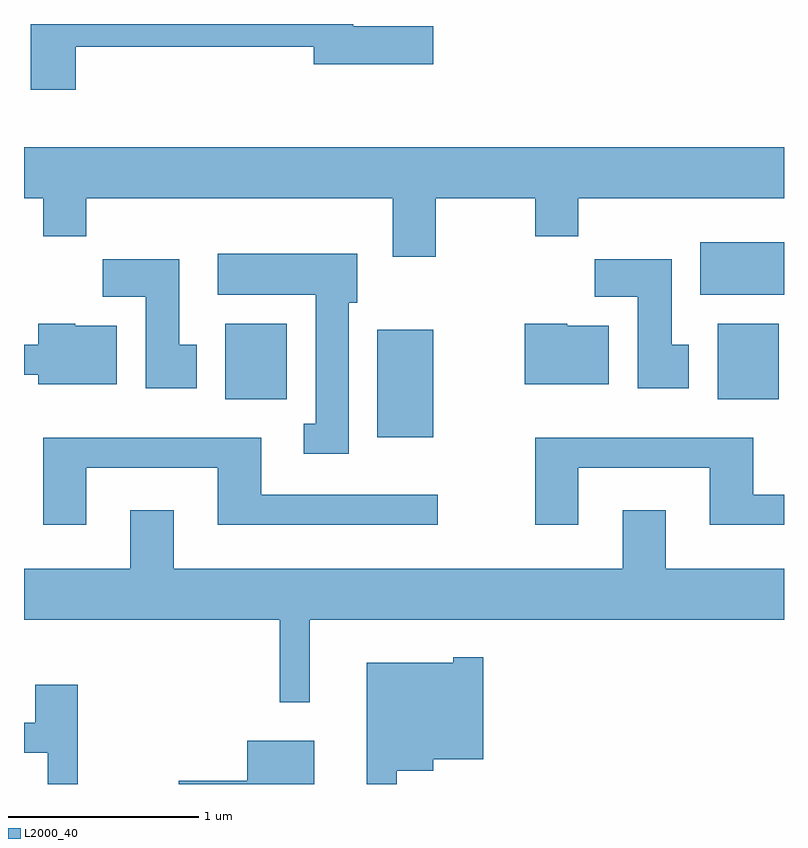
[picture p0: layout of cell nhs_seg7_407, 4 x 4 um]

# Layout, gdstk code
import gdstk
lib = gdstk.Library(unit=1e-6, precision=1e-09)
def R(c, l, rs):  # rectangles x0, y0, x1, y1
    for r in rs: c.add(gdstk.rectangle(r[:2], r[2:], *l))
def P(c, l, *ps):  # polygons
    for p in ps: c.add(gdstk.Polygon(p, *l))
L2000_40 = (2000, 40)

nhs_seg7_407 = lib.new_cell('nhs_seg7_407')
R(nhs_seg7_407, L2000_40, [(197.471,1804.076,197.764,1804.644), (196.671,1804.276,196.994,1804.674), (199.261,1804.276,199.584,1804.674), (199.171,1804.826,199.611,1805.104)])
P(nhs_seg7_407, L2000_40, [(195.884,1806.131),(197.136,1806.131),(197.136,1806.041),(197.764,1806.041),(197.764,1806.239),(197.344,1806.239),(197.344,1806.252),(195.646,1806.252),(195.646,1805.906),(195.884,1805.906)],
  [(197.779,1805.336),(198.301,1805.336),(198.301,1805.136),(198.529,1805.136),(198.529,1805.336),(199.611,1805.336),(199.611,1805.604),(195.611,1805.604),(195.611,1805.336),(195.711,1805.336),(195.711,1805.136),(195.939,1805.136),(195.939,1805.336),(197.551,1805.336),(197.551,1805.026),(197.779,1805.026)],
  [(197.319,1804.786),(197.364,1804.786),(197.364,1805.044),(196.631,1805.044),(196.631,1804.826),(197.146,1804.826),(197.146,1804.149),(197.083,1804.149),(197.083,1803.991),(197.319,1803.991)],
  [(196.519,1804.564),(196.429,1804.564),(196.429,1805.014),(196.026,1805.014),(196.026,1804.816),(196.251,1804.816),(196.251,1804.336),(196.519,1804.336)],
  [(199.109,1804.564),(199.019,1804.564),(199.019,1805.014),(198.616,1805.014),(198.616,1804.816),(198.841,1804.816),(198.841,1804.336),(199.109,1804.336)],
  [(198.689,1804.664),(198.47,1804.664),(198.47,1804.674),(198.246,1804.674),(198.246,1804.356),(198.689,1804.356)],
  [(196.099,1804.664),(195.88,1804.664),(195.88,1804.674),(195.686,1804.674),(195.686,1804.564),(195.611,1804.564),(195.611,1804.406),(195.686,1804.406),(195.686,1804.356),(196.099,1804.356)],
  [(195.939,1803.916),(196.631,1803.916),(196.631,1803.616),(197.788,1803.616),(197.788,1803.774),(196.859,1803.774),(196.859,1804.074),(195.711,1804.074),(195.711,1803.616),(195.939,1803.616)],
  [(198.529,1803.916),(199.221,1803.916),(199.221,1803.616),(199.611,1803.616),(199.611,1803.774),(199.449,1803.774),(199.449,1804.074),(198.301,1804.074),(198.301,1803.616),(198.529,1803.616)],
  [(197.114,1803.116),(199.611,1803.116),(199.611,1803.384),(198.989,1803.384),(198.989,1803.694),(198.761,1803.694),(198.761,1803.384),(196.399,1803.384),(196.399,1803.694),(196.171,1803.694),(196.171,1803.384),(195.611,1803.384),(195.611,1803.116),(196.956,1803.116),(196.956,1802.683),(197.114,1802.683)],
  [(197.574,1802.321),(197.764,1802.321),(197.764,1802.381),(198.029,1802.381),(198.029,1802.919),(197.871,1802.919),(197.871,1802.889),(197.416,1802.889),(197.416,1802.252),(197.574,1802.252)],
  [(195.894,1802.774),(195.671,1802.774),(195.671,1802.574),(195.611,1802.574),(195.611,1802.416),(195.736,1802.416),(195.736,1802.252),(195.894,1802.252)],
  [(197.139,1802.479),(196.786,1802.479),(196.786,1802.269),(196.426,1802.269),(196.426,1802.252),(197.139,1802.252)])

lib.write_gds('nhs_seg7_407.gds')
